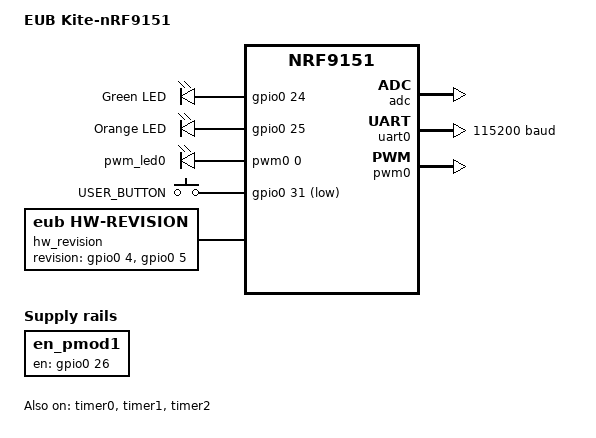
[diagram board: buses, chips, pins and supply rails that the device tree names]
/*
 * Copyright (c) 2023 Elektronikutvecklingsbyrån EUB AB
 *
 * SPDX-License-Identifier: Apache-2.0
 */
#include "kite_nrf9151_common-pinctrl.dtsi"
#include "kite_nrf9151-connectors-gpio.dtsi"
#include "kite_nrf9151-connectors-pinctrl.dtsi"
#include <dt-bindings/gpio/pmod.h>

/ {
	model = "EUB Kite-nRF9151";
	compatible = "eub,kite-nrf9151";

	chosen {
		zephyr,console = &uart0;
		zephyr,shell-uart = &uart0;
		zephyr,uart-mcumgr = &uart0;
	};

	leds {
		compatible = "gpio-leds";
		led0: led_0 {
			gpios = <&gpio0 24 0>;
			label = "Green LED";
		};
		led1: led_1 {
			gpios = <&gpio0 25 0>;
			label = "Orange LED";
		};
	};

	pwmleds {
		compatible = "pwm-leds";
		pwm_led0: pwm_led_0 {
			pwms = <&pwm0 0 PWM_MSEC(20) PWM_POLARITY_NORMAL>;
		};
	};

	buttons {
		compatible = "gpio-keys";
		button0: button_0 {
			gpios = <&gpio0 31 (GPIO_PULL_UP | GPIO_ACTIVE_LOW)>;
			label = "USER_BUTTON";
		};
	};

	aliases {
		led0 = &led0;
		led1 = &led1;
		green-led = &led0;
		orange-led = &led1;
		pwm-led0 = &pwm_led0;
		sw0 = &button0;
		user-button = &button0;
		bootloader-led0 = &led0;
		mcuboot-button0 = &button0;
		mcuboot-led0 = &led0;
		watchdog0 = &wdt0;
	};

	/* Note: The regulator API is honestly not great, so you should feel
	 * free to set CONFIG_REGULATOR=n and use this as a normal GPIO pin. If
	 * you do, the DTS node (and its properties) will still be accessible.
	 * This fact is utilized in board.c to enable PMOD1 at boot even if
	 * CONFIG_REGULATOR=n. If this is not what you want, you can delete the
	 * `regulator-boot-on` property in your dts overlay:
	 *     &en_pmod1 {
	 *         /delete-property/ regulator-boot-on;
	 *     }
	 */
	en_pmod1: pmod1-pwr-ctrl {
		compatible = "regulator-fixed-sync", "regulator-fixed";
		status = "okay";
		regulator-name = "EN_PMOD1";

		enable-gpios = <&gpio0 26 GPIO_ACTIVE_HIGH>;
		regulator-boot-on;
	};

	hw_revision {
		compatible = "eub,hw-revision";

		revision-gpios = <&gpio0 4 GPIO_ACTIVE_HIGH>, /* Pin 0 */
			<&gpio0 5 GPIO_ACTIVE_HIGH>; /* Pin 1 */

		compatible-revisions = <0 1>;
		version-map = "1.0", "1.1";
		revision-remap = <2 5 4 3 1 0 8 7 6>;
	};

};

&adc {
	status = "okay";
};

&gpiote {
	status = "okay";
};

&gpio0 {
	status = "okay";
};

&uart0 {
	status = "okay";
	current-speed = <115200>;
	pinctrl-0 = <&uart_pmod3a_default>;
	pinctrl-1 = <&uart_pmod3a_sleep>;
	pinctrl-names = "default", "sleep";
};

&i2c2 {
	status = "disabled";
	pinctrl-0 = <&i2c_pmod1a_default>;
	pinctrl-1 = <&i2c_pmod1a_sleep>;
	pinctrl-names = "default", "sleep";
};

&pwm0 {
	status = "okay";
	pinctrl-0 = <&pwm0_default>;
	pinctrl-1 = <&pwm0_sleep>;
	pinctrl-names = "default", "sleep";
};

&spi3 {
	compatible = "nordic,nrf-spim";
	status = "disabled";

	cs-gpios = <&pmod2 PMOD_SPI_CS GPIO_ACTIVE_LOW>;
	pinctrl-0 = <&spi_pmod2a_default>;
	pinctrl-1 = <&spi_pmod2a_sleep>;
	pinctrl-names = "default", "sleep";
};

&timer0 {
	status = "okay";
};

&timer1 {
	status = "okay";
};

&timer2 {
	status = "okay";
};

&flash0 {

	partitions {
		compatible = "fixed-partitions";
		#address-cells = <1>;
		#size-cells = <1>;

		boot_partition: partition@0 {
			label = "mcuboot";
			reg = <0x00000000 0x10000>;
		};
		slot0_partition: partition@10000 {
			label = "image-0";
		};
		slot0_ns_partition: partition@50000 {
			label = "image-0-nonsecure";
		};
		slot1_partition: partition@80000 {
			label = "image-1";
		};
		slot1_ns_partition: partition@c0000 {
			label = "image-1-nonsecure";
		};
		scratch_partition: partition@f0000 {
			label = "image-scratch";
			reg = <0x000f0000 0xa000>;
		};
		storage_partition: partition@fa000 {
			label = "storage";
			reg = <0x000fa000 0x00006000>;
		};
	};
};

/ {

	reserved-memory {
		#address-cells = <1>;
		#size-cells = <1>;
		ranges;

		sram0_s: image_s@20000000 {
			/* Secure image memory */
		};

		sram0_modem: image_modem@20016000 {
			/* Modem (shared) memory */
		};

		sram0_ns: image_ns@20020000 {
			/* Non-Secure image memory */
		};
	};
};

/* Include partition configuration file */
#include "kite_nrf9151_partition_conf.dts"
